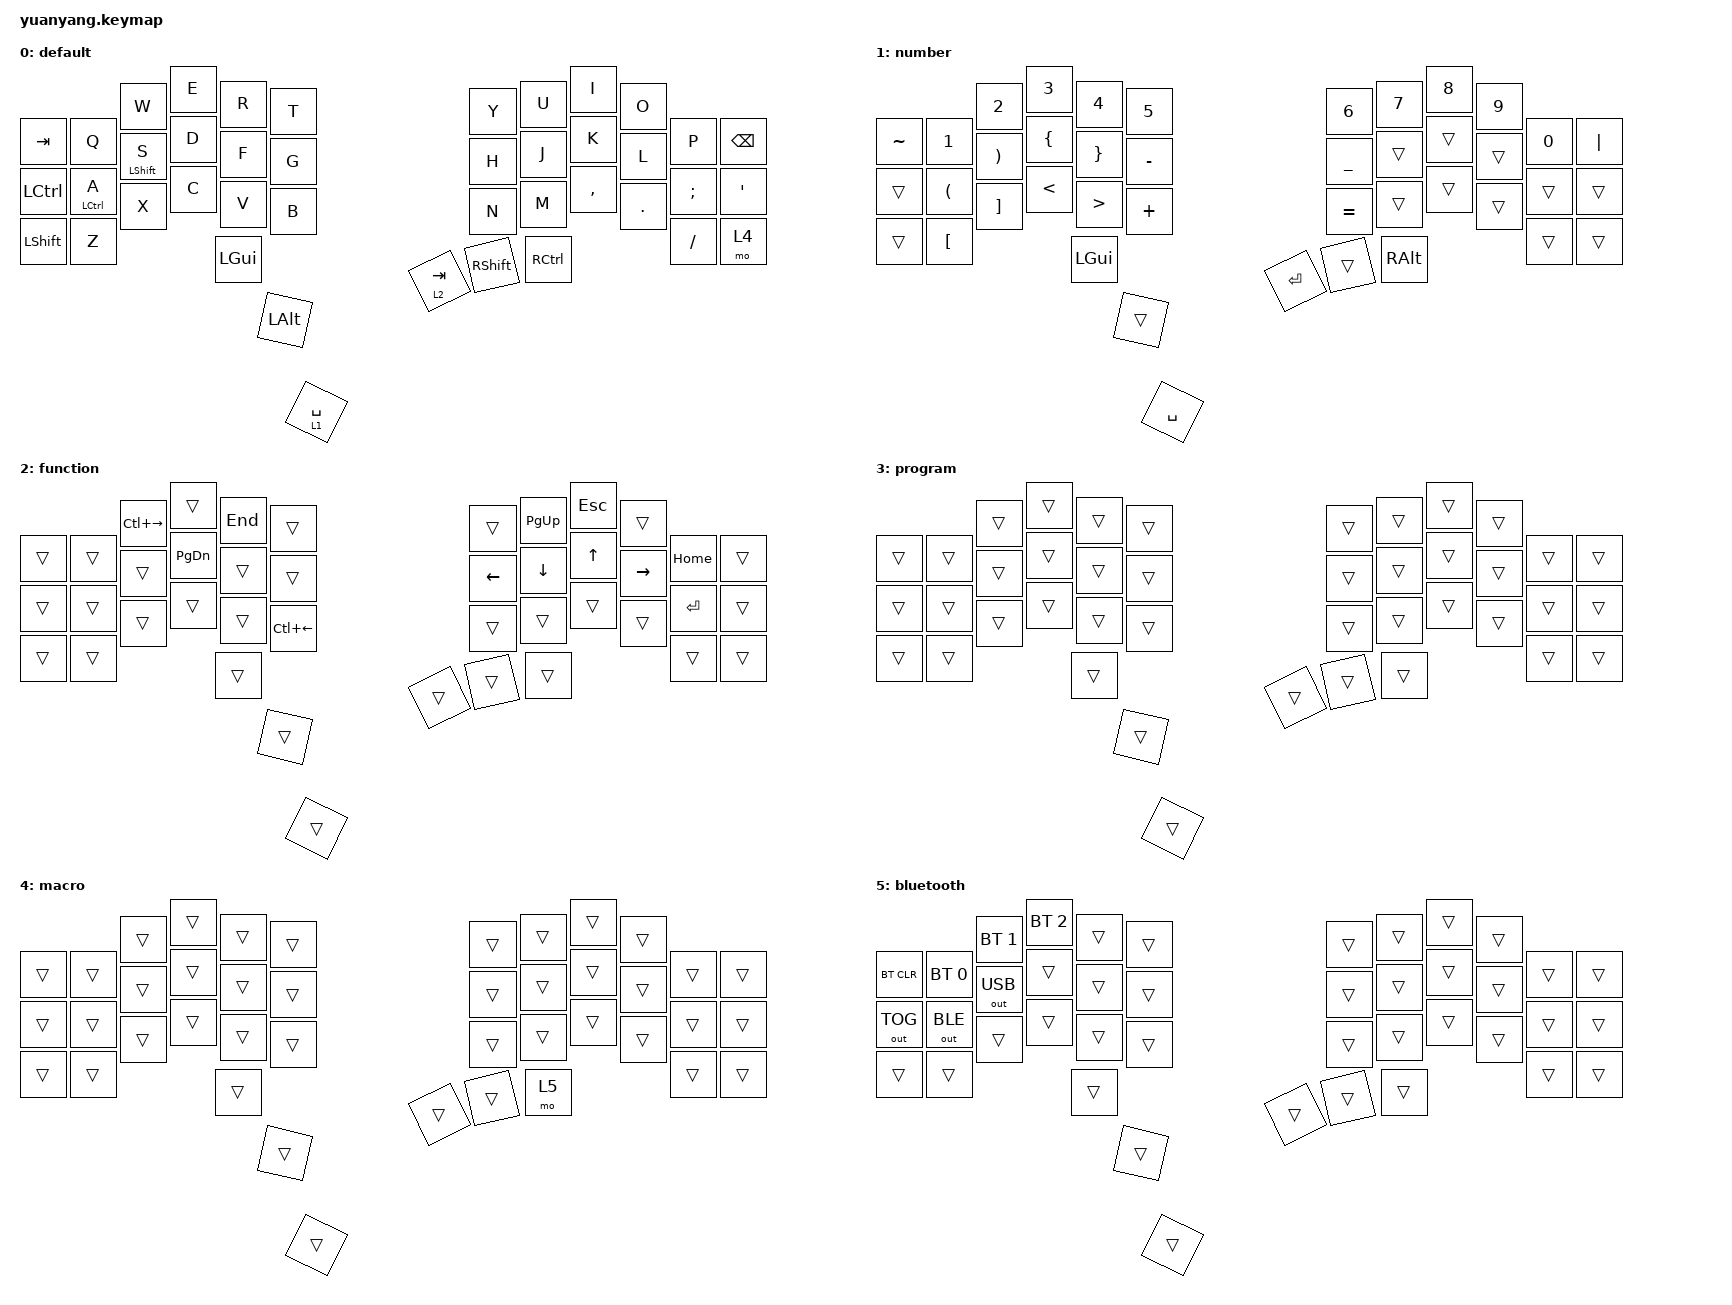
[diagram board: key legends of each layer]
/*
 * Copyright (c) 2020 The ZMK Contributors
 *
 * SPDX-License-Identifier: MIT
 */

#include <behaviors.dtsi>
#include <dt-bindings/zmk/keys.h>
#include <dt-bindings/zmk/bt.h>
#include <dt-bindings/zmk/outputs.h>

#define BASE 0
#define LOWER 1
#define MOUSE_KEYS 2
#define MOUSE_TP 3
#define MOUSE_TP_SET 4

/*
 * Defines to enable/disable features
 *
 * These defines allow us to conditionally enable and disable parts of the keymap config.
 *
 * For example, if we decide to build the firmware without the mouse features, we can
 * disable all the config options that rely on those forks and modules without having
 * to edit the entire keymap file manually every time.
 */

#define HAS_MOUSE_KEYS
#define HAS_MOUSE_TP

#ifdef HAS_MOUSE_KEYS
  #include <dt-bindings/zmk/mouse.h>
  #include <behaviors/mouse_keys.dtsi>
#endif  // HAS_MOUSE_KEYS

#ifdef HAS_MOUSE_TP
  // We store the trackpoint settings in a separate file
  // to make organization a little easier.
  #include "include/mouse_tp.dtsi"
#endif  // HAS_MOUSE_TP



// Adjust layer keys based on enabled features.
//
// This prevents build errors when we build the firmware
// without the mouse keys PR or the TP module.
#ifdef HAS_MOUSE_KEYS
  #define U_THUMB_INNER &mo MOUSE_KEYS
#else
  #define U_THUMB_INNER &none
#endif  // HAS_MOUSE_KEYS

#ifdef HAS_MOUSE_TP
  #define U_TOG_TP_SET &tog MOUSE_TP_SET
#else
  #define U_TOG_TP_SET &none
#endif  // HAS_MOUSE_TP

/ {
    behaviors {
        hm: homerow_mods {
            compatible = "zmk,behavior-hold-tap";
            #binding-cells = <2>;
            tapping-term-ms = <200>;
            quick-tap-ms = <125>;
            flavor = "tap-preferred";
            bindings = <&kp>, <&kp>;
        };
    };

        keymap {
                compatible = "zmk,keymap";

        default_layer {
// ------------------------------------------------------------------------------------------
// |  TAB |  Q  |  W  |  E  |  R  |  T  |   |  Y  |  U  |  I  |  O  |  P  | BKSP |
// | CTRL |  A  |  S  |  D  |  F  |  G  |   |  H  |  J  |  K  |  L  |  ;  |  '   |
// | SHFT |  Z  |  X  |  C  |  V  |  B  |   |  N  |  M  |  ,  |  .  |  /  | MO4  |
//                    | GUI | ALT | L1  |   | L2  | RSH | MO3 |
 bindings = <
   &kp TAB   &kp Q       &kp W       &kp E  &kp R  &kp T      &kp Y       &kp U     &kp I     &kp O   &kp P    &kp BSPC
   &kp LCTRL &hm LCTRL A &hm LSHFT S &kp D  &kp F  &kp G      &kp H       &kp J     &kp K     &kp L   &kp SEMI &kp SQT
   &kp LSHFT &kp Z       &kp X       &kp C  &kp V  &kp B      &kp N       &kp M     &kp COMMA &kp DOT &kp FSLH &mo 4
                                     &kp LGUI &kp LALT &lt 1 SPACE &lt 2 TAB &kp RSHFT &kp RCTRL
            >;
            display-name = "default";
        };

        number_layer {
// ------------------------------------------------------------------------------------------
// |   ~  |  1  |  2  |  3  |  4  |  5  |   |  6  |  7  |  8  |  9  |  0  |  |  |
// |      |  (  |  [  |  {  |  <  |  -  |   |  _  |     |     |     |     |     |
// |      |  )  |  ]  |  }  |  >  |  +  |   |  =  |     |     |     |     |     |
//                    | GUI |     | SPC |   | ENT |     | ALT |
 bindings = <
   &kp TILDE &kp N1   &kp N2   &kp N3   &kp N4    &kp N5    &kp N6    &kp N7 &kp N8 &kp N9 &kp N0 &kp PIPE
   &trans    &kp LPAR &kp RPAR &kp LBRC &kp RBRC  &kp MINUS &kp UNDER &trans &trans &trans &trans &trans
   &trans    &kp LBKT &kp RBKT &kp LT   &kp GT    &kp PLUS  &kp EQUAL &trans &trans &trans &trans &trans
                               &kp LGUI &trans    &kp SPACE &kp RET   &trans &kp RALT
            >;
            display-name = "number";
        };

        function_layer {
// ------------------------------------------------------------------------------------------
// |  ESC |  1  |  2  |  3  |  4  |  5  |   |  6  |  7  |  8  |  9  |  0  | BKSP |
// |      |     |     |     |     |     |   | LFT | DWN |  UP | RGT | ENT |      |
// |      |     |     |     |     |     |   |     |     |     |     |     |      |
//                    | GUI |     | SPC |   | ENT |     | ALT |
 bindings = <
   &trans       &trans        &kp LC(RIGHT) &trans        &kp END       &trans        &trans        &kp PG_UP     &kp ESC       &trans        &kp HOME      &trans
   &trans       &trans        &trans        &kp PG_DN     &trans        &trans        &kp LEFT      &kp DOWN      &kp UP        &kp RIGHT     &kp ENTER     &trans
   &trans       &trans        &trans        &trans        &trans        &kp LC(LEFT)  &trans        &trans        &trans        &trans        &trans        &trans
                              &trans        &trans        &trans        &trans        &trans        &trans
                        >;
            display-name = "function";
        };

        program_layer {
// ------------------------------------------------------------------------------------------
// |      |     |     |     |     |     |   |     |     |     |     |     |      |
// |      |     |     |     |     |     |   |     |     |     |     |     |      |
// |      |     |     |     |     |     |   |     |     |     |     |     |      |
//                    |     |     |     |   |     |     |     |
 bindings = <
   &trans &trans &trans &trans &trans &trans    &trans &trans &trans &trans &trans &trans
   &trans &trans &trans &trans &trans &trans    &trans &trans &trans &trans &trans &trans
   &trans &trans &trans &trans &trans &trans    &trans &trans &trans &trans &trans &trans
                        &trans &trans &trans    &trans &trans &trans
            >;
            display-name = "program";
        };

        macro_layer {
// ------------------------------------------------------------------------------------------
// |      |     |     |     |     |     |   |     |     |     |     |     |      |
// |      |     |     |     |     |     |   |     |     |     |     |     |      |
// |      |     |     |     |     |     |   |     |     |     |     |     |      |
//                    |     |     |     |   |     |     | MO5 |
            bindings = <
   &trans &trans &trans &trans &trans &trans    &trans &trans &trans &trans &trans &trans
   &trans &trans &trans &trans &trans &trans    &trans &trans &trans &trans &trans &trans
   &trans &trans &trans &trans &trans &trans    &trans &trans &trans &trans &trans &trans
                        &trans &trans &trans    &trans &trans &mo 5
            >;
            display-name = "macro";
        };

        bluetooth_layer {
// ------------------------------------------------------------------------------------------
// | CLR | BT0 | BT1 | BT2 |     |     |   |     |     |     |     |     |      |
// | TOG | BLE | USB |     |     |     |   |     |     |     |     |     |      |
// |     |     |     |     |     |     |   |     |     |     |     |     |      |
//                   |     |     |     |   |     |     |     |
            bindings = <
   &bt BT_CLR   &bt BT_SEL 0 &bt BT_SEL 1 &bt BT_SEL 2 &trans &trans    &trans &trans &trans &trans &trans &trans
   &out OUT_TOG &out OUT_BLE &out OUT_USB  &trans       &trans &trans    &trans &trans &trans &trans &trans &trans
   &trans       &trans       &trans        &trans       &trans &trans    &trans &trans &trans &trans &trans &trans
                                           &trans       &trans &trans    &trans &trans &trans
                        >;
            display-name = "bluetooth";
                };
        };
};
